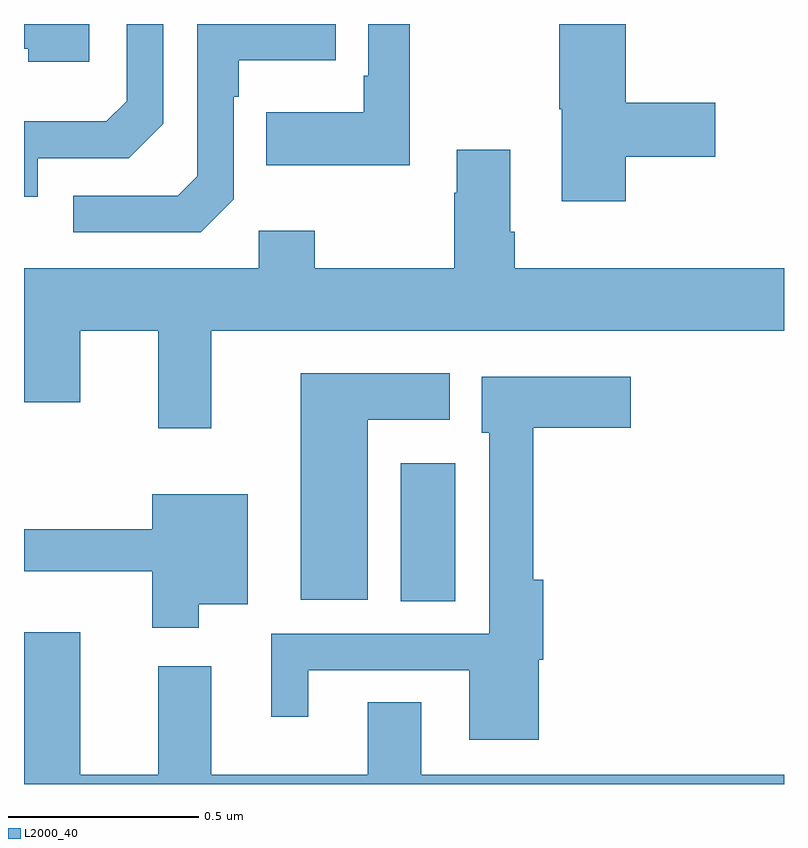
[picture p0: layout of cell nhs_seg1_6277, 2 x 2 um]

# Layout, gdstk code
import gdstk
lib = gdstk.Library(unit=1e-6, precision=1e-09)
def R(c, l, rs):  # rectangles x0, y0, x1, y1
    for r in rs: c.add(gdstk.rectangle(r[:2], r[2:], *l))
def P(c, l, *ps):  # polygons
    for p in ps: c.add(gdstk.Polygon(p, *l))
L2000_40 = (2000, 40)

nhs_seg1_6277 = lib.new_cell('nhs_seg1_6277')
R(nhs_seg1_6277, L2000_40, [(189.992,557.68,190.135,558.043)])
P(nhs_seg1_6277, L2000_40, [(189.552,558.738),(189.552,559.007),(189.565,559.007),(189.565,559.103),(189.821,559.103),(189.821,559.199),(189.456,559.199),(189.456,558.798),(189.405,558.747),(189.129,558.747),(189.129,558.651),(189.465,558.651)],
  [(190.015,559.199),(189.906,559.199),(189.906,559.063),(189.894,559.063),(189.894,558.967),(189.637,558.967),(189.637,558.827),(190.015,558.827)],
  [(189.172,559.199),(189,559.199),(189,559.134),(189.011,559.134),(189.011,559.1),(189.172,559.1)],
  [(189.036,558.846),(189.276,558.846),(189.366,558.936),(189.366,559.199),(189.27,559.199),(189.27,558.996),(189.217,558.943),(189,558.943),(189,558.744),(189.036,558.744)],
  [(190.583,558.85),(190.819,558.85),(190.819,558.992),(190.583,558.992),(190.583,559.199),(190.408,559.199),(190.408,558.975),(190.415,558.975),(190.415,558.732),(190.583,558.732)],
  [(189.493,558.392),(191,558.392),(191,558.556),(190.292,558.556),(190.292,558.652),(190.279,558.652),(190.279,558.868),(190.139,558.868),(190.139,558.755),(190.132,558.755),(190.132,558.556),(189.765,558.556),(189.765,558.655),(189.618,558.655),(189.618,558.556),(189,558.556),(189,558.204),(189.148,558.204),(189.148,558.392),(189.353,558.392),(189.353,558.135),(189.493,558.135)],
  [(189.904,558.158),(190.12,558.158),(190.12,558.28),(189.728,558.28),(189.728,557.684),(189.904,557.684)],
  [(190.354,557.526),(190.367,557.526),(190.367,557.737),(190.34,557.737),(190.34,558.137),(190.597,558.137),(190.597,558.271),(190.205,558.271),(190.205,558.123),(190.224,558.123),(190.224,557.595),(189.65,557.595),(189.65,557.376),(189.748,557.376),(189.748,557.499),(190.172,557.499),(190.172,557.315),(190.354,557.315)],
  [(189.46,557.672),(189.589,557.672),(189.589,557.962),(189.338,557.962),(189.338,557.869),(189,557.869),(189,557.759),(189.338,557.759),(189.338,557.61),(189.46,557.61)],
  [(191,557.224),(190.045,557.224),(190.045,557.414),(189.905,557.414),(189.905,557.224),(189.493,557.224),(189.493,557.509),(189.353,557.509),(189.353,557.224),(189.148,557.224),(189.148,557.599),(189,557.599),(189,557.199),(191,557.199)])

lib.write_gds('nhs_seg1_6277.gds')
